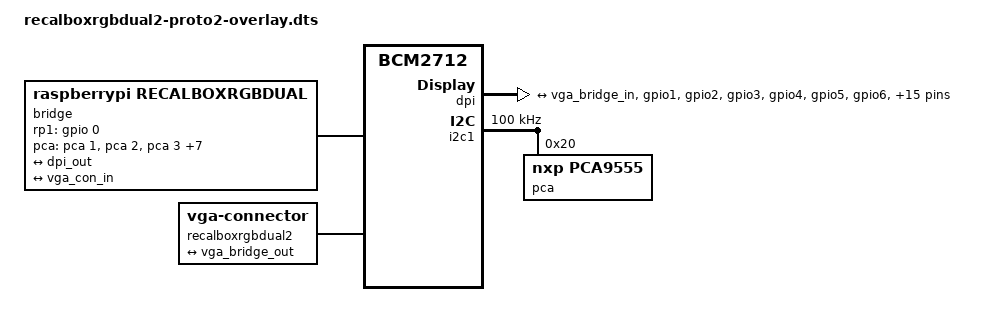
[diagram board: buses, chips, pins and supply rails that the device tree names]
/dts-v1/;
/plugin/;

#include <dt-bindings/gpio/gpio.h>

/ {
    compatible = "brcm,bcm2712";
    fragment@0 {
        target = <&gpio>;
        __overlay__ {
            rp1_gpio: rp1_gpio_conf {
                brcm,pins = <0>; // 0 = AUDIO_ENABLE
                brcm,function = <1>; // OUT
                brcm,pull = <0>;
            };
        };
    };
    fragment@1 {
        target-path = "/";
        __overlay__ {

            bridge: recalboxrgbdual2 {
                compatible = "raspberrypi,recalboxrgbdual";
                #address-cells = <1>;
                #size-cells = <0>;

                vc4-vga666-mode = <6>;
                recalbox-rgb-dual-2 = <2>;

                // RPI GPIOS  = audio_enable
                rp1-gpios = <&gpio 0 0>;

                // TCA GPIOS = filter_bypass, force_50Hz, force_31kHz, force_comp, scart_wide, scart_comp, scart_disable, rgb_disable, dac_enable,  csync_rpi5
                pca-gpios    = <&pca 1 0>,    <&pca 2 0>, <&pca 3 0>,  <&pca 4 0>, <&pca 5 0>, <&pca 6 0>, <&pca 7 0>,    <&pca 12 0>, <&pca 13 0>, <&pca 15 0>;
                pinctrl-0 = <&rp1_gpio>;
                pinctrl-names = "default";

                ports {
                    #address-cells = <1>;
                    #size-cells = <0>;

                    port@0 {
                        reg = <0>;
                        vga_bridge_in: endpoint {
                            remote-endpoint = <&dpi_out>;
                        };
                    };

                    port@1 {
                        reg = <1>;
                        vga_bridge_out: endpoint {
                            remote-endpoint = <&vga_con_in>;
                        };
                    };
                };
            };

            vga {
                compatible = "vga-connector";
                label = "recalboxrgbdual2";
                port {
                    vga_con_in: endpoint {
                        remote-endpoint = <&vga_bridge_out>;
                    };
                };
            };
        };
    };

    fragment@2 {
        target = <&dpi>;
        __overlay__  {
            // Not enabled by default, see rgbdualvideo.dtbo
            //status = "okay";
            pinctrl-names = "default";
            pinctrl-0 = <&vga666_mode6_pins>;
            port {
                dpi_out: endpoint@0 {
                    remote-endpoint = <&vga_bridge_in>;
                };
            };
        };
    };

    fragment@3 {
        target = <&gpio>;
        __overlay__ {
            vga666_mode6_pins: vga666_mode6_pins {
                function = "dpi";
                pins = "gpio1", "gpio2", "gpio3",
                       "gpio4", "gpio5", "gpio6", "gpio7",
                       "gpio8", "gpio9",
                       "gpio12", "gpio13", "gpio14", "gpio15",
                       "gpio16", "gpio17",
                       "gpio20", "gpio21", "gpio22", "gpio23",
                       "gpio24", "gpio25";
                bias-disable;
            };
        };
    };


    // I2S audio
    fragment@100 {
        target = <&rp1_gpio>;
        __overlay__ {
            rp1_i2s0_dual: rp1_i2s0_dual {
                function = "i2s0";
                pins = "gpio18", "gpio19", "gpio27";
                bias-disable;
            };
        };
    };
    fragment@101 {
        target = <&i2s_clk_producer>;
        __overlay__ {
            pinctrl-names = "default";
            pinctrl-0 = <&rp1_i2s0_dual>;
            status = "okay";
        };
    };


    fragment@102 {
        target = <&sound>;
        __overlay__ {
            compatible = "simple-audio-card";
            simple-audio-card,name = "Recalbox RGB DUAL 2";
            status = "okay";
            simple-audio-card,dai-link@1 {
                format = "i2s";
                cpu {
                    sound-dai = <&i2s_clk_producer>;
                    dai-tdm-slot-num = <2>;
                    dai-tdm-slot-width = <32>;
                };
                codec {
                    sound-dai = <&codec_out>;
                };
            };
        };
    };

    fragment@103 {
        target-path = "/";
        __overlay__ {
            codec_out: recalbox_i2s {
                #sound-dai-cells = <0>;
                compatible = "recalbox_i2s";
                status = "okay";
            };
        };
    };

    // Config Chip
    fragment@200 {
        target = <&i2c1>;
        __overlay__ {
            #address-cells = <1>;
            #size-cells = <0>;
            status = "okay";
            pinctrl-names = "default";
            pinctrl-0 = <&rp1_i2c1_10_11>;
            clock-frequency = <100000>;
            read-timeout-ms = <50>;

            pca: pca@20 {
                compatible = "nxp,pca9555";
                reg = <0x20>;
                gpio-controller;
                #gpio-cells = <2>;
                status = "okay";
            };
        };
    };
};
